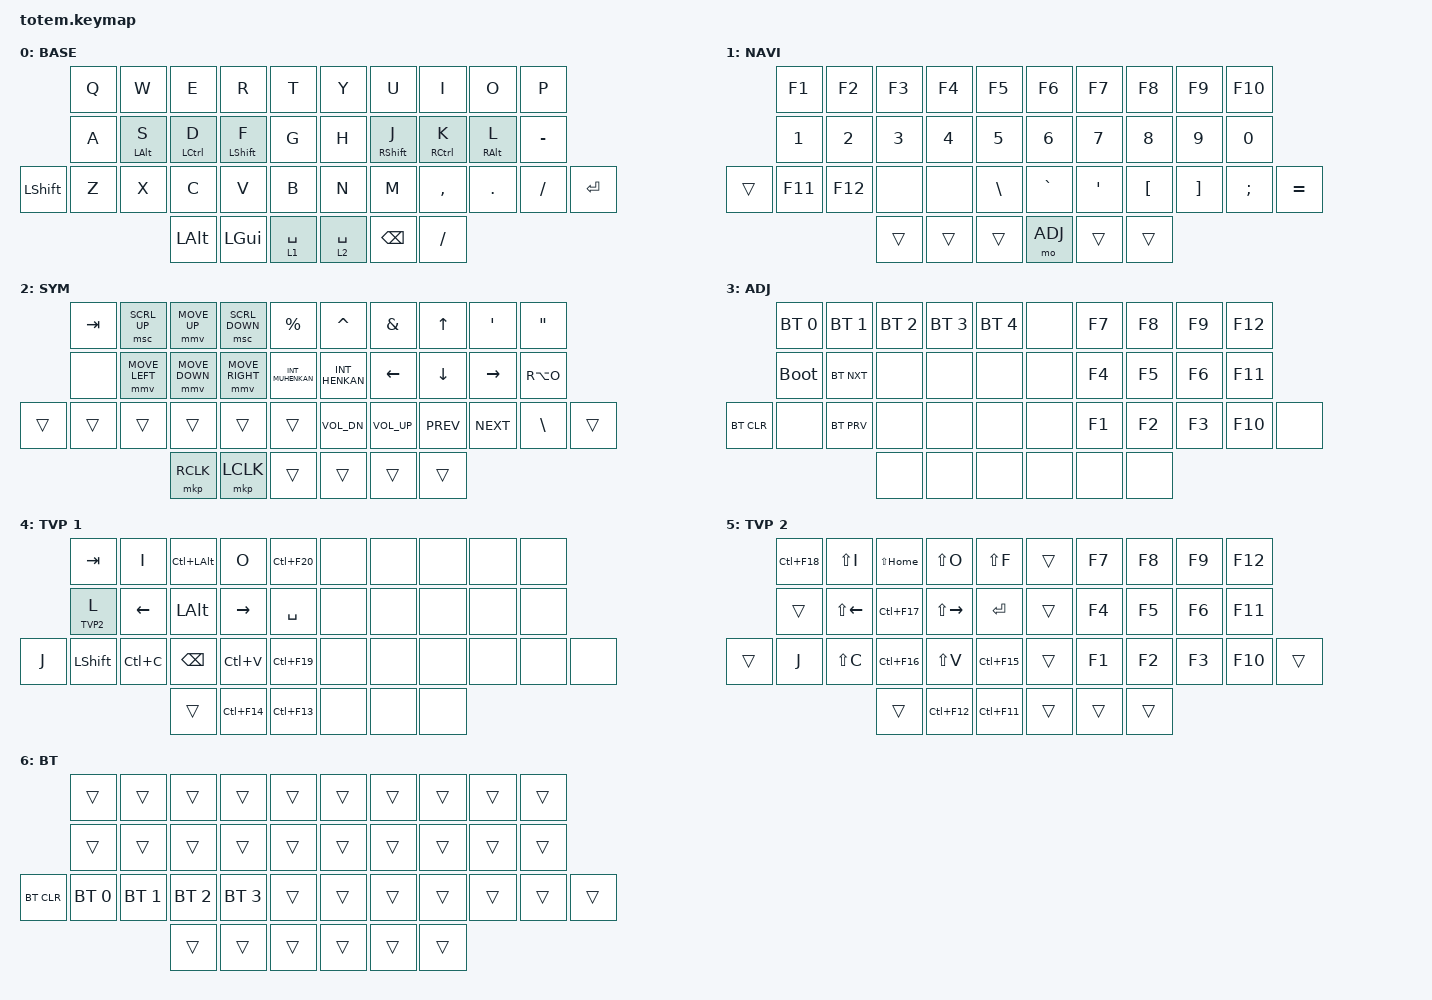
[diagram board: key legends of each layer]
//
//                                                        ▀▀▀▀▀     ▀▀▀▀▀          ▀▀█▀▀
//                                                        ▄▀▀▀▄  ▄  ▄▀▀▀▄  ▄  ▄▀▀▀▄  █  ▄▀▀▀▄
//                                                        █   █  █  █   █  █  █   █  █  █   █
//                                                         ▀▀▀   █   ▀▀▀   █   ▀▀▀   ▀   ▀▀▀
//                                                               █      ▄▄▄█▄▄▄    █   █  
//                                                               ▀      █  █  █     █▄█
//                                                             ▀▀▀▀▀    █  █  █      ▀
//                                                                      ▀  ▀  ▀
//
// ▄▄▄▄▄▄▄▄▄▄▄▄▄▄▄▄▄▄▄▄▄▄▄▄▄▄▄▄▄▄▄▄▄▄▄▄▄▄▄▄▄▄▄▄▄▄▄▄▄▄▄▄▄▄▄▄▄▄▄▄▄▄▄▄▄▄▄▄▄▄▄▄▄▄▄▄▄▄▄▄▄▄▄▄▄▄▄▄▄▄▄▄▄▄▄▄▄▄▄▄▄▄▄▄▄▄▄▄▄▄▄▄▄▄▄▄▄▄▄▄▄▄▄▄▄▄▄▄▄▄▄▄▄▄▄▄▄▄▄▄▄▄▄▄▄▄▄▄▄

#define ZMK_POINTING_DEFAULT_MOVE_VAL 1600

#include <behaviors.dtsi>
#include <dt-bindings/zmk/bt.h>
#include <dt-bindings/zmk/keys.h>
#include <dt-bindings/zmk/mouse.h>

#define BASE 0
#define NAV  1
#define SYM  2
#define ADJ  3
#define TVP1 4
#define TVP2 5
#define BT   6

&mt {
    quick-tap-ms = <100>;
    global-quick-tap;
    flavor = "tap-preferred";
    tapping-term-ms = <170>;
};

&mmv {
    time-to-max-speed-ms = <500>;
};

/ {
    combos {
        compatible = "zmk,combos";

        lefttab {
            bindings = <&kp TAB>;
            key-positions = <13 12>;
        };

        righttab {
            bindings = <&kp TAB>;
            key-positions = <16 17>;
        };

        leftesc {
            bindings = <&kp ESCAPE>;
            key-positions = <0 1>;
        };

        bt_layer_combo {
            bindings = <&mo BT>;
            key-positions = <34 35>;
            timeout-ms = <50>;
        };
    };

    keymap {
        compatible = "zmk,keymap";

        // ▄▄▄▄▄▄▄▄▄▄▄▄▄▄▄▄▄▄▄▄▄▄▄▄▄▄▄▄▄▄▄▄▄▄▄▄▄▄▄▄▄▄▄▄▄▄▄▄▄▄▄▄▄▄▄▄▄▄▄▄▄▄▄▄▄▄▄▄▄▄▄▄▄▄▄▄▄▄▄▄▄▄▄▄▄▄▄▄▄▄▄▄▄▄▄▄▄▄▄▄▄▄▄▄▄▄▄▄▄▄▄▄▄▄▄▄▄▄▄▄▄▄▄▄▄▄▄▄▄▄▄▄▄▄▄▄▄▄▄▄▄▄▄▄▄▄▄▄▄

        base_layer {
            // ┏━━━━━━━━━━━━━━━━━━━━━━━━━━━━━━━━━━━━━━━┓

            label = "BASE";

            // ┗━━━━━━━━━━━━━━━━━━━━━━━━━━━━━━━━━━━━━━━┛
            //             ┏━━━━━━━━━━━┳━━━━━━━━━━━┳━━━━━━━━━━━┳━━━━━━━━━━━┳━━━━━━━━━━━┓   ┏━━━━━━━━━━━┳━━━━━━━━━━━┳━━━━━━━━━━━┳━━━━━━━━━━━┳━━━━━━━━━━━┓
            //             ┃     Q     ┃     W     ┃     F     ┃     P     ┃     G     ┃   ┃     J     ┃     L     ┃     U     ┃     Y     ┃     ;     ┃
            //             ┣━━━━━━━━━━━╋━━━━━━━━━━━╋━━━━━━━━━━━╋━━━━━━━━━━━╋━━━━━━━━━━━┫   ┣━━━━━━━━━━━╋━━━━━━━━━━━╋━━━━━━━━━━━╋━━━━━━━━━━━╋━━━━━━━━━━━┫
            //             ┃     A     ┃     R     ┃     S     ┃     T     ┃     D     ┃   ┃     H     ┃     N     ┃     E     ┃     I     ┃     O     ┃
            // ┏━━━━━━━━━━━╋━━━━━━━━━━━╋━━━━━━━━━━━╋━━━━━━━━━━━╋━━━━━━━━━━━╋━━━━━━━━━━━┫   ┣━━━━━━━━━━━╋━━━━━━━━━━━╋━━━━━━━━━━━╋━━━━━━━━━━━╋━━━━━━━━━━━╋━━━━━━━━━━━┓
            // ┃     Q     ┃     Z     ┃     X     ┃     C     ┃     V     ┃     B     ┃   ┃     K     ┃     M     ┃     ,     ┃     .     ┃     /     ┃     \     ┃
            // ┗━━━━━━━━━━━┻━━━━━━━━━━━┻━━━━━━━━━━━╋━━━━━━━━━━━╋━━━━━━━━━━━╋━━━━━━━━━━━┫   ┣━━━━━━━━━━━╋━━━━━━━━━━━╋━━━━━━━━━━━╋━━━━━━━━━━━┻━━━━━━━━━━━┻━━━━━━━━━━━┛
            //                                     ┃    DEL    ┃    TAB    ┃    SPC    ┃   ┃   ENTER   ┃           ┃   BSPC    ┃
            //                                     ┗━━━━━━━━━━━┻━━━━━━━━━━━┻━━━━━━━━━━━┛   ┗━━━━━━━━━━━┻━━━━━━━━━━━┻━━━━━━━━━━━┛

            bindings = <
                &kp Q  &kp W       &kp E         &kp R         &kp T          &kp Y        &kp U          &kp I        &kp O       &kp P
                &kp A  &mt LALT S  &mt LCTRL D   &mt LSHFT F   &kp G          &kp H        &mt RSHFT J    &mt RCTRL K  &mt RALT L  &kp MINUS
&kp LEFT_SHIFT  &kp Z  &kp X       &kp C         &kp V         &kp B          &kp N        &kp M          &kp COMMA    &kp DOT     &kp FSLH   &kp ENTER
                                   &kp LEFT_ALT  &kp LEFT_GUI  &lt 1 SPACE    &lt 2 SPACE  &kp BACKSPACE  &kp SLASH
            >;
        };

        // ▄▄▄▄▄▄▄▄▄▄▄▄▄▄▄▄▄▄▄▄▄▄▄▄▄▄▄▄▄▄▄▄▄▄▄▄▄▄▄▄▄▄▄▄▄▄▄▄▄▄▄▄▄▄▄▄▄▄▄▄▄▄▄▄▄▄▄▄▄▄▄▄▄▄▄▄▄▄▄▄▄▄▄▄▄▄▄▄▄▄▄▄▄▄▄▄▄▄▄▄▄▄▄▄▄▄▄▄▄▄▄▄▄▄▄▄▄▄▄▄▄▄▄▄▄▄▄▄▄▄▄▄▄▄▄▄▄▄▄▄▄▄▄▄▄▄▄▄▄

        nav_layer {
            // ┏━━━━━━━━━━━━━━━━━━━━━━━━━━━━━━━━━━━━━━━┓

            label = "NAVI";

            // ┗━━━━━━━━━━━━━━━━━━━━━━━━━━━━━━━━━━━━━━━┛
            //             ┏━━━━━━━━━━━┳━━━━━━━━━━━┳━━━━━━━━━━━┳━━━━━━━━━━━┳━━━━━━━━━━━┓   ┏━━━━━━━━━━━┳━━━━━━━━━━━┳━━━━━━━━━━━┳━━━━━━━━━━━┳━━━━━━━━━━━┓
            //             ┃           ┃           ┃     UP    ┃           ┃     {     ┃   ┃     }     ┃     7     ┃     8     ┃     9     ┃     +     ┃
            //             ┣━━━━━━━━━━━╋━━━━━━━━━━━╋━━━━━━━━━━━╋━━━━━━━━━━━╋━━━━━━━━━━━┫   ┣━━━━━━━━━━━╋━━━━━━━━━━━╋━━━━━━━━━━━╋━━━━━━━━━━━╋━━━━━━━━━━━┫
            //             ┃   SHIFT   ┃   LEFT    ┃    DOWN   ┃   RIGHT   ┃     [     ┃   ┃     ]     ┃     4     ┃     5     ┃     6     ┃     -     ┃
            // ┏━━━━━━━━━━━╋━━━━━━━━━━━╋━━━━━━━━━━━╋━━━━━━━━━━━╋━━━━━━━━━━━╋━━━━━━━━━━━┫   ┣━━━━━━━━━━━╋━━━━━━━━━━━╋━━━━━━━━━━━╋━━━━━━━━━━━╋━━━━━━━━━━━╋━━━━━━━━━━━┓
            // ┃           ┃           ┃   P UP    ┃  C LOCK   ┃  P DOWN   ┃     (     ┃   ┃     )     ┃     1     ┃     2     ┃     3     ┃     *     ┃           ┃
            // ┗━━━━━━━━━━━┻━━━━━━━━━━━┻━━━━━━━━━━━╋━━━━━━━━━━━╋━━━━━━━━━━━╋━━━━━━━━━━━┫   ┣━━━━━━━━━━━╋━━━━━━━━━━━╋━━━━━━━━━━━╋━━━━━━━━━━━┻━━━━━━━━━━━┻━━━━━━━━━━━┛
            //                                     ┃           ┃    TAB    ┃    SPC    ┃   ┃    DEL    ┃     0     ┃           ┃
            //                                     ┗━━━━━━━━━━━┻━━━━━━━━━━━┻━━━━━━━━━━━┛   ┗━━━━━━━━━━━┻━━━━━━━━━━━┻━━━━━━━━━━━┛

            bindings = <
        &kp F1   &kp F2   &kp F3  &kp F4  &kp F5           &kp F6     &kp F7            &kp F8            &kp F9             &kp F10
        &kp N1   &kp N2   &kp N3  &kp N4  &kp N5           &kp N6     &kp N7            &kp N8            &kp N9             &kp N0
&trans  &kp F11  &kp F12  &none   &none   &kp BACKSLASH    &kp GRAVE  &kp SINGLE_QUOTE  &kp LEFT_BRACKET  &kp RIGHT_BRACKET  &kp SEMICOLON  &kp EQUAL
                          &trans  &trans  &trans           &mo ADJ    &trans            &trans
            >;
        };

        // ▄▄▄▄▄▄▄▄▄▄▄▄▄▄▄▄▄▄▄▄▄▄▄▄▄▄▄▄▄▄▄▄▄▄▄▄▄▄▄▄▄▄▄▄▄▄▄▄▄▄▄▄▄▄▄▄▄▄▄▄▄▄▄▄▄▄▄▄▄▄▄▄▄▄▄▄▄▄▄▄▄▄▄▄▄▄▄▄▄▄▄▄▄▄▄▄▄▄▄▄▄▄▄▄▄▄▄▄▄▄▄▄▄▄▄▄▄▄▄▄▄▄▄▄▄▄▄▄▄▄▄▄▄▄▄▄▄▄▄▄▄▄▄▄▄▄▄▄▄

        sim_layer {
            // ┏━━━━━━━━━━━━━━━━━━━━━━━━━━━━━━━━━━━━━━━┓

            label = "SYM";

            // ┗━━━━━━━━━━━━━━━━━━━━━━━━━━━━━━━━━━━━━━━┛
            //             ┏━━━━━━━━━━━┳━━━━━━━━━━━┳━━━━━━━━━━━┳━━━━━━━━━━━┳━━━━━━━━━━━┓   ┏━━━━━━━━━━━┳━━━━━━━━━━━┳━━━━━━━━━━━┳━━━━━━━━━━━┳━━━━━━━━━━━┓
            //             ┃     !     ┃  SCRL UP  ┃  M UP     ┃ SCRL DOWN ┃     %     ┃   ┃     ˆ     ┃     &     ┃     Ü     ┃     '     ┃     "     ┃
            //             ┣━━━━━━━━━━━╋━━━━━━━━━━━╋━━━━━━━━━━━╋━━━━━━━━━━━╋━━━━━━━━━━━┫   ┣━━━━━━━━━━━╋━━━━━━━━━━━╋━━━━━━━━━━━╋━━━━━━━━━━━╋━━━━━━━━━━━┫
            //             ┃     Ä     ┃  M LEFT   ┃  M DOWN   ┃  M RIGHT  ┃           ┃   ┃   MUTE    ┃   YEN     ┃   EURO    ┃  POUND    ┃     Ö     ┃
            // ┏━━━━━━━━━━━╋━━━━━━━━━━━╋━━━━━━━━━━━╋━━━━━━━━━━━╋━━━━━━━━━━━╋━━━━━━━━━━━┫   ┣━━━━━━━━━━━╋━━━━━━━━━━━╋━━━━━━━━━━━╋━━━━━━━━━━━╋━━━━━━━━━━━╋━━━━━━━━━━━┓
            // ┃           ┃  EMAIL1   ┃  EMAIL2   ┃           ┃           ┃           ┃   ┃   VOL-    ┃   VOL+    ┃   LAST    ┃   NEXT    ┃     \     ┃           ┃
            // ┗━━━━━━━━━━━┻━━━━━━━━━━━┻━━━━━━━━━━━╋━━━━━━━━━━━╋━━━━━━━━━━━╋━━━━━━━━━━━┫   ┣━━━━━━━━━━━╋━━━━━━━━━━━╋━━━━━━━━━━━╋━━━━━━━━━━━┻━━━━━━━━━━━┻━━━━━━━━━━━┛
            //                                     ┃   R-CLK   ┃   L-CLK   ┃    ADJ    ┃   ┃           ┃           ┃           ┃
            //                                     ┗━━━━━━━━━━━┻━━━━━━━━━━━┻━━━━━━━━━━━┛   ┗━━━━━━━━━━━┻━━━━━━━━━━━┻━━━━━━━━━━━┛

            bindings = <
            &kp TAB       &msc SCRL_UP  &mmv MOVE_UP    &msc SCRL_DOWN &kp PRCNT          &kp CARET       &kp AMPS      &kp UP      &kp SQT     &kp DQT
            &none         &mmv MOVE_LEFT &mmv MOVE_DOWN &mmv MOVE_RIGHT &kp INT_MUHENKAN  &kp INT_HENKAN  &kp LEFT      &kp DOWN    &kp RIGHT   &kp RA(O)
&trans      &trans        &trans        &trans        &trans        &trans              &kp C_VOL_DN    &kp C_VOL_UP  &kp C_PREV  &kp C_NEXT  &kp BSLH   &trans
                                        &mkp RCLK     &mkp LCLK     &trans              &trans          &trans        &trans
            >;
        };

        // ▄▄▄▄▄▄▄▄▄▄▄▄▄▄▄▄▄▄▄▄▄▄▄▄▄▄▄▄▄▄▄▄▄▄▄▄▄▄▄▄▄▄▄▄▄▄▄▄▄▄▄▄▄▄▄▄▄▄▄▄▄▄▄▄▄▄▄▄▄▄▄▄▄▄▄▄▄▄▄▄▄▄▄▄▄▄▄▄▄▄▄▄▄▄▄▄▄▄▄▄▄▄▄▄▄▄▄▄▄▄▄▄▄▄▄▄▄▄▄▄▄▄▄▄▄▄▄▄▄▄▄▄▄▄▄▄▄▄▄▄▄▄▄▄▄▄▄▄▄

        adjust_layer {
            // ┏━━━━━━━━━━━━━━━━━━━━━━━━━━━━━━━━━━━━━━━┓

            label = "ADJ";

            // ┗━━━━━━━━━━━━━━━━━━━━━━━━━━━━━━━━━━━━━━━┛
            //             ┏━━━━━━━━━━━┳━━━━━━━━━━━┳━━━━━━━━━━━┳━━━━━━━━━━━┳━━━━━━━━━━━┓   ┏━━━━━━━━━━━┳━━━━━━━━━━━┳━━━━━━━━━━━┳━━━━━━━━━━━┳━━━━━━━━━━━┓
            //             ┃   RESET   ┃ BT CLEAR  ┃  OUT TOG  ┃           ┃           ┃   ┃           ┃    F7     ┃    F8     ┃    F9     ┃    F12    ┃
            //             ┣━━━━━━━━━━━╋━━━━━━━━━━━╋━━━━━━━━━━━╋━━━━━━━━━━━╋━━━━━━━━━━━┫   ┣━━━━━━━━━━━╋━━━━━━━━━━━╋━━━━━━━━━━━╋━━━━━━━━━━━╋━━━━━━━━━━━┫
            //             ┃ BOOTLOAD  ┃ BT NEXT   ┃           ┃           ┃           ┃   ┃           ┃    F4     ┃    F5     ┃    F6     ┃    F11    ┃
            // ┏━━━━━━━━━━━╋━━━━━━━━━━━╋━━━━━━━━━━━╋━━━━━━━━━━━╋━━━━━━━━━━━╋━━━━━━━━━━━┫   ┣━━━━━━━━━━━╋━━━━━━━━━━━╋━━━━━━━━━━━╋━━━━━━━━━━━╋━━━━━━━━━━━╋━━━━━━━━━━━┓
            // ┃           ┃           ┃ BT PREV   ┃           ┃           ┃           ┃   ┃           ┃    F1     ┃    F2     ┃    F3     ┃    F10    ┃           ┃
            // ┗━━━━━━━━━━━┻━━━━━━━━━━━┻━━━━━━━━━━━╋━━━━━━━━━━━╋━━━━━━━━━━━╋━━━━━━━━━━━┫   ┣━━━━━━━━━━━╋━━━━━━━━━━━╋━━━━━━━━━━━╋━━━━━━━━━━━┻━━━━━━━━━━━┻━━━━━━━━━━━┛
            //                                     ┃           ┃           ┃           ┃   ┃           ┃           ┃           ┃
            //                                     ┗━━━━━━━━━━━┻━━━━━━━━━━━┻━━━━━━━━━━━┛   ┗━━━━━━━━━━━┻━━━━━━━━━━━┻━━━━━━━━━━━┛

            bindings = <
            &bt BT_SEL 0  &bt BT_SEL 1  &bt BT_SEL 2  &bt BT_SEL 3  &bt BT_SEL 4    &none  &kp F7  &kp F8  &kp F9  &kp F12
            &bootloader   &bt BT_NXT    &none         &none         &none           &none  &kp F4  &kp F5  &kp F6  &kp F11
&bt BT_CLR  &none         &bt BT_PRV    &none         &none         &none           &none  &kp F1  &kp F2  &kp F3  &kp F10  &none
                                        &none         &none         &none           &none  &none   &none
            >;
        };

        // ▄▄▄▄▄▄▄▄▄▄▄▄▄▄▄▄▄▄▄▄▄▄▄▄▄▄▄▄▄▄▄▄▄▄▄▄▄▄▄▄▄▄▄▄▄▄▄▄▄▄▄▄▄▄▄▄▄▄▄▄▄▄▄▄▄▄▄▄▄▄▄▄▄▄▄▄▄▄▄▄▄▄▄▄▄▄▄▄▄▄▄▄▄▄▄▄▄▄▄▄▄▄▄▄▄▄▄▄▄▄▄▄▄▄▄▄▄▄▄▄▄▄▄▄▄▄▄▄▄▄▄▄▄▄▄▄▄▄▄▄▄▄▄▄▄▄▄▄▄

        tvp1_layer {
            // ┏━━━━━━━━━━━━━━━━━━━━━━━━━━━━━━━━━━━━━━━┓

            label = "TVP 1";

            // ┗━━━━━━━━━━━━━━━━━━━━━━━━━━━━━━━━━━━━━━━┛
            //             ┏━━━━━━━━━━━┳━━━━━━━━━━━┳━━━━━━━━━━━┳━━━━━━━━━━━┳━━━━━━━━━━━┓   ┏━━━━━━━━━━━┳━━━━━━━━━━━┳━━━━━━━━━━━┳━━━━━━━━━━━┳━━━━━━━━━━━┓
            //             ┃ NEXT FILE ┃ MARK IN   ┃ ROTATE    ┃ MARK OUT  ┃ SHOW SNAP ┃   ┃           ┃           ┃           ┃           ┃           ┃
            //             ┣━━━━━━━━━━━╋━━━━━━━━━━━╋━━━━━━━━━━━╋━━━━━━━━━━━╋━━━━━━━━━━━┫   ┣━━━━━━━━━━━╋━━━━━━━━━━━╋━━━━━━━━━━━╋━━━━━━━━━━━╋━━━━━━━━━━━┫
            //             ┃ TVP II    ┃ LEFT      ┃ PAN       ┃ RIGHT     ┃ PLAY/FLIP ┃   ┃           ┃           ┃           ┃           ┃           ┃
            // ┏━━━━━━━━━━━╋━━━━━━━━━━━╋━━━━━━━━━━━╋━━━━━━━━━━━╋━━━━━━━━━━━╋━━━━━━━━━━━┫   ┣━━━━━━━━━━━╋━━━━━━━━━━━╋━━━━━━━━━━━╋━━━━━━━━━━━╋━━━━━━━━━━━╋━━━━━━━━━━━┓
            // ┃ FULLSCR   ┃ SHIFT     ┃ COPY      ┃ DELETE    ┃ PASTE     ┃ IMG MARK  ┃   ┃           ┃           ┃           ┃           ┃           ┃           ┃
            // ┗━━━━━━━━━━━┻━━━━━━━━━━━┻━━━━━━━━━━━╋━━━━━━━━━━━╋━━━━━━━━━━━╋━━━━━━━━━━━┫   ┣━━━━━━━━━━━╋━━━━━━━━━━━╋━━━━━━━━━━━╋━━━━━━━━━━━┻━━━━━━━━━━━┻━━━━━━━━━━━┛
            //                                     ┃           ┃ UNDO/SAVE ┃  SEL/MOV  ┃   ┃           ┃           ┃           ┃
            //                                     ┗━━━━━━━━━━━┻━━━━━━━━━━━┻━━━━━━━━━━━┛   ┗━━━━━━━━━━━┻━━━━━━━━━━━┻━━━━━━━━━━━┛

            bindings = <
       &kp TAB     &kp I      &kp LC(LALT)  &kp O        &kp LC(F20)    &none  &none  &none  &none  &none
       &lt TVP2 L  &kp LEFT   &kp LALT      &kp RIGHT    &kp SPACE      &none  &none  &none  &none  &none
&kp J  &kp LSHFT   &kp LC(C)  &kp BSPC      &kp LC(V)    &kp LC(F19)    &none  &none  &none  &none  &none  &none
                              &trans        &kp LC(F14)  &kp LC(F13)    &none  &none  &none
            >;
        };

        // ▄▄▄▄▄▄▄▄▄▄▄▄▄▄▄▄▄▄▄▄▄▄▄▄▄▄▄▄▄▄▄▄▄▄▄▄▄▄▄▄▄▄▄▄▄▄▄▄▄▄▄▄▄▄▄▄▄▄▄▄▄▄▄▄▄▄▄▄▄▄▄▄▄▄▄▄▄▄▄▄▄▄▄▄▄▄▄▄▄▄▄▄▄▄▄▄▄▄▄▄▄▄▄▄▄▄▄▄▄▄▄▄▄▄▄▄▄▄▄▄▄▄▄▄▄▄▄▄▄▄▄▄▄▄▄▄▄▄▄▄▄▄▄▄▄▄▄▄▄

        tvp2_layer {
            // ┏━━━━━━━━━━━━━━━━━━━━━━━━━━━━━━━━━━━━━━━┓

            label = "TVP 2";

            // ┗━━━━━━━━━━━━━━━━━━━━━━━━━━━━━━━━━━━━━━━┛
            //             ┏━━━━━━━━━━━┳━━━━━━━━━━━┳━━━━━━━━━━━┳━━━━━━━━━━━┳━━━━━━━━━━━┓   ┏━━━━━━━━━━━┳━━━━━━━━━━━┳━━━━━━━━━━━┳━━━━━━━━━━━┳━━━━━━━━━━━┓
            //             ┃ SOLO      ┃ TOGGLE IN ┃ RESET ROT ┃ TOGGLE OUT┃ TAKE SNAP ┃   ┃           ┃           ┃           ┃           ┃           ┃
            //             ┣━━━━━━━━━━━╋━━━━━━━━━━━╋━━━━━━━━━━━╋━━━━━━━━━━━╋━━━━━━━━━━━┫   ┣━━━━━━━━━━━╋━━━━━━━━━━━╋━━━━━━━━━━━╋━━━━━━━━━━━╋━━━━━━━━━━━┫
            //             ┃ ---       ┃ LAST KEY  ┃ NEW KEY   ┃ NEXT KEY  ┃ ENTER     ┃   ┃           ┃           ┃           ┃           ┃           ┃
            // ┏━━━━━━━━━━━╋━━━━━━━━━━━╋━━━━━━━━━━━╋━━━━━━━━━━━╋━━━━━━━━━━━╋━━━━━━━━━━━┫   ┣━━━━━━━━━━━╋━━━━━━━━━━━╋━━━━━━━━━━━╋━━━━━━━━━━━╋━━━━━━━━━━━╋━━━━━━━━━━━┓
            // ┃           ┃ FULLSCR   ┃ CPY2BRUSH ┃ DEL HEAD  ┃ PSTinPLACE┃ BOOK MARK ┃   ┃           ┃           ┃           ┃           ┃           ┃           ┃
            // ┗━━━━━━━━━━━┻━━━━━━━━━━━┻━━━━━━━━━━━╋━━━━━━━━━━━╋━━━━━━━━━━━╋━━━━━━━━━━━┫   ┣━━━━━━━━━━━╋━━━━━━━━━━━╋━━━━━━━━━━━╋━━━━━━━━━━━┻━━━━━━━━━━━┻━━━━━━━━━━━┛
            //                                     ┃           ┃ REDO/SAV1 ┃TRANS/WARP ┃   ┃           ┃           ┃           ┃
            //                                     ┗━━━━━━━━━━━┻━━━━━━━━━━━┻━━━━━━━━━━━┛   ┗━━━━━━━━━━━┻━━━━━━━━━━━┻━━━━━━━━━━━┛

            bindings = <
        &kp LC(F18)  &kp LS(I)     &kp LS(HOME)  &kp LS(O)      &kp LS(F)      &trans  &kp F7  &kp F8  &kp F9  &kp F12
        &trans       &kp LS(LEFT)  &kp LC(F17)   &kp LS(RIGHT)  &kp RET        &trans  &kp F4  &kp F5  &kp F6  &kp F11
&trans  &kp J        &kp LS(C)     &kp LC(F16)   &kp LS(V)      &kp LC(F15)    &trans  &kp F1  &kp F2  &kp F3  &kp F10  &trans
                                   &trans        &kp LC(F12)    &kp LC(F11)    &trans  &trans  &trans
            >;
        };

// ▄▄▄▄▄▄▄▄▄▄▄▄▄▄▄▄▄▄▄▄▄▄▄▄▄▄▄▄▄▄▄▄▄▄▄▄▄▄▄▄▄▄▄▄▄▄▄▄▄▄▄▄▄▄▄▄▄▄▄▄▄▄▄▄▄▄▄▄▄▄▄▄▄▄▄▄▄▄▄▄▄▄▄▄▄▄▄▄▄▄▄▄▄▄▄▄▄▄▄▄▄▄▄▄▄▄▄▄▄▄▄▄▄▄▄▄▄▄▄▄▄▄▄▄▄▄▄▄▄▄▄▄▄▄▄▄▄▄▄▄▄▄▄▄▄▄▄▄▄

        bt_layer {
            // ┏━━━━━━━━━━━━━━━━━━━━━━━━━━━━━━━━━━━━━━━┓

            label = "BT";

            // ┗━━━━━━━━━━━━━━━━━━━━━━━━━━━━━━━━━━━━━━━┛
            // Activated only while holding both space thumb keys together.
            //             ┏━━━━━━━━━━━┳━━━━━━━━━━━┳━━━━━━━━━━━┳━━━━━━━━━━━┳━━━━━━━━━━━┓   ┏━━━━━━━━━━━┳━━━━━━━━━━━┳━━━━━━━━━━━┳━━━━━━━━━━━┳━━━━━━━━━━━┓
            //             ┃           ┃           ┃           ┃           ┃           ┃   ┃           ┃           ┃           ┃           ┃           ┃
            //             ┣━━━━━━━━━━━╋━━━━━━━━━━━╋━━━━━━━━━━━╋━━━━━━━━━━━╋━━━━━━━━━━━┫   ┣━━━━━━━━━━━╋━━━━━━━━━━━╋━━━━━━━━━━━╋━━━━━━━━━━━╋━━━━━━━━━━━┫
            //             ┃           ┃           ┃           ┃           ┃           ┃   ┃           ┃           ┃           ┃           ┃           ┃
            // ┏━━━━━━━━━━━╋━━━━━━━━━━━╋━━━━━━━━━━━╋━━━━━━━━━━━╋━━━━━━━━━━━╋━━━━━━━━━━━┫   ┣━━━━━━━━━━━╋━━━━━━━━━━━╋━━━━━━━━━━━╋━━━━━━━━━━━╋━━━━━━━━━━━╋━━━━━━━━━━━┓
            // ┃ BT CLEAR  ┃  BT SEL0  ┃  BT SEL1  ┃  BT SEL2  ┃  BT SEL3  ┃           ┃   ┃           ┃           ┃           ┃           ┃           ┃           ┃
            // ┗━━━━━━━━━━━┻━━━━━━━━━━━┻━━━━━━━━━━━╋━━━━━━━━━━━╋━━━━━━━━━━━╋━━━━━━━━━━━┫   ┣━━━━━━━━━━━╋━━━━━━━━━━━╋━━━━━━━━━━━╋━━━━━━━━━━━┻━━━━━━━━━━━┻━━━━━━━━━━━┛
            //                                     ┃           ┃           ┃           ┃   ┃           ┃           ┃           ┃
            //                                     ┗━━━━━━━━━━━┻━━━━━━━━━━━┻━━━━━━━━━━━┛   ┗━━━━━━━━━━━┻━━━━━━━━━━━┻━━━━━━━━━━━┛

            bindings = <
            &trans      &trans        &trans        &trans        &trans              &trans          &trans        &trans      &trans      &trans
            &trans      &trans        &trans        &trans        &trans              &trans          &trans        &trans      &trans      &trans
&bt BT_CLR  &bt BT_SEL 0  &bt BT_SEL 1  &bt BT_SEL 2  &bt BT_SEL 3  &trans              &trans          &trans        &trans      &trans      &trans     &trans
                                        &trans        &trans        &trans              &trans          &trans        &trans
            >;
        };
    };
};
